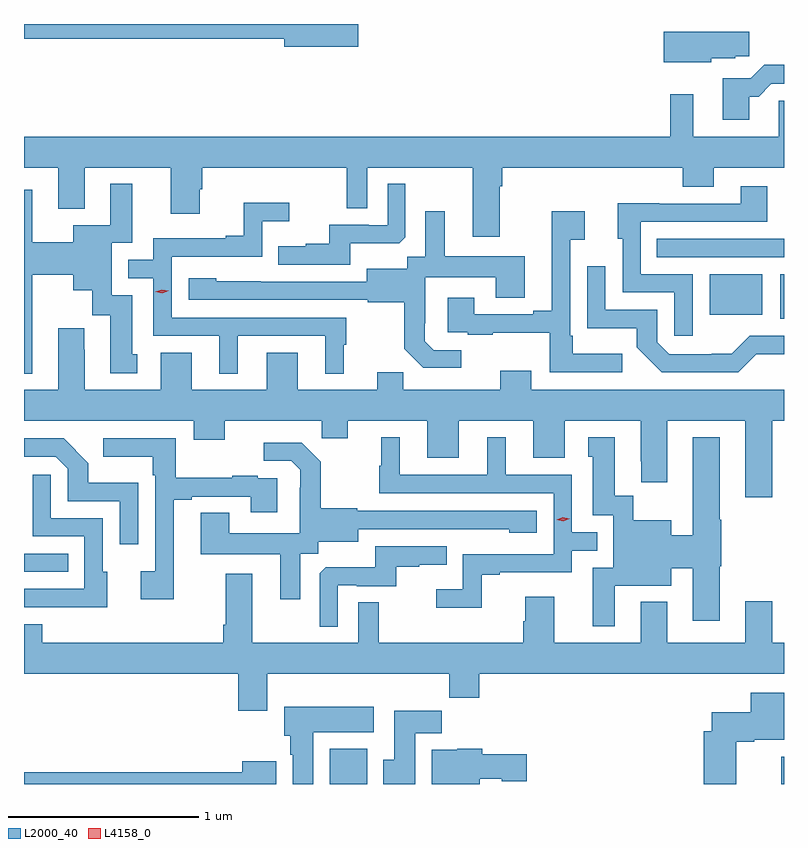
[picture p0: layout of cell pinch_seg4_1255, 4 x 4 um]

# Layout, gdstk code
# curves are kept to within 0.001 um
import gdstk
lib = gdstk.Library(unit=1e-6, precision=1e-09)
def R(c, l, rs):  # rectangles x0, y0, x1, y1
    for r in rs: c.add(gdstk.rectangle(r[:2], r[2:], *l))
def P(c, l, *ps):  # polygons
    for p in ps: c.add(gdstk.Polygon(p, *l))
L2000_40 = (2000, 40)
L4158_0 = (4158, 0)

pinch_seg4_1255 = lib.new_cell('pinch_seg4_1255')
R(pinch_seg4_1255, L2000_40, [(255.716,757.613,255.913,757.798), (258.091,757.613,258.106,757.756), (254.106,758.73,254.339,758.826), (258.086,760.061,258.106,760.297), (257.714,760.082,257.992,760.297), (257.437,760.386,258.106,760.482)])
P(pinch_seg4_1255, L2000_40, [(255.865,761.613),(254.106,761.613),(254.106,761.536),(255.476,761.536),(255.476,761.494),(255.865,761.494)],
  [(257.724,761.432),(257.85,761.432),(257.85,761.443),(257.923,761.443),(257.923,761.572),(257.474,761.572),(257.474,761.411),(257.724,761.411)],
  [(257.923,761.231),(257.972,761.231),(258.039,761.298),(258.106,761.298),(258.106,761.399),(258.002,761.399),(257.931,761.328),(257.783,761.328),(257.783,761.109),(257.923,761.109)],
  [(256.609,760.76),(256.622,760.76),(256.622,760.856),(257.573,760.856),(257.573,760.757),(257.737,760.757),(257.737,760.856),(258.106,760.856),(258.106,761.21),(258.078,761.21),(258.078,761.02),(257.629,761.02),(257.629,761.242),(257.508,761.242),(257.508,761.02),(254.106,761.02),(254.106,760.856),(254.285,760.856),(254.285,760.64),(254.425,760.64),(254.425,760.856),(254.879,760.856),(254.879,760.614),(255.031,760.614),(255.031,760.743),(255.044,760.743),(255.044,760.856),(255.804,760.856),(255.804,760.642),(255.912,760.642),(255.912,760.856),(256.469,760.856),(256.469,760.494),(256.609,760.494)],
  [(255.823,760.46),(256.081,760.46),(256.113,760.491),(256.113,760.771),(256.02,760.771),(256.02,760.554),(255.92,760.554),(255.92,760.557),(255.713,760.557),(255.713,760.456),(255.589,760.456),(255.589,760.444),(255.445,760.444),(255.445,760.347),(255.823,760.347)],
  [(254.149,760.292),(254.366,760.292),(254.366,760.211),(254.465,760.211),(254.465,760.08),(254.561,760.08),(254.561,759.774),(254.701,759.774),(254.701,759.876),(254.677,759.876),(254.677,760.185),(254.568,760.185),(254.568,760.461),(254.677,760.461),(254.677,760.771),(254.561,760.771),(254.561,760.555),(254.366,760.555),(254.366,760.464),(254.149,760.464),(254.149,760.741),(254.106,760.741),(254.106,759.773),(254.149,759.773)],
  [(257.625,760.296),(257.352,760.296),(257.352,760.572),(258.019,760.572),(258.019,760.759),(257.879,760.759),(257.879,760.668),(257.449,760.668),(257.449,760.67),(257.231,760.67),(257.231,760.482),(257.256,760.482),(257.256,760.2),(257.529,760.2),(257.529,759.972),(257.625,759.972)],
  [(255.232,759.972),(255.692,759.972),(255.692,759.773),(255.79,759.773),(255.79,759.924),(255.802,759.924),(255.802,760.068),(254.883,760.068),(254.883,760.389),(255.36,760.389),(255.36,760.574),(255.502,760.574),(255.502,760.673),(255.262,760.673),(255.262,760.498),(255.167,760.498),(255.167,760.485),(254.787,760.485),(254.787,760.371),(254.654,760.371),(254.654,760.275),(254.787,760.275),(254.787,759.972),(255.134,759.972),(255.134,759.773),(255.232,759.773)],
  [(257.254,759.877),(256.993,759.877),(256.993,759.973),(256.98,759.973),(256.98,760.478),(257.056,760.478),(257.056,760.627),(256.883,760.627),(256.883,760.105),(256.787,760.105),(256.787,760.086),(256.477,760.086),(256.477,760.171),(256.337,760.171),(256.337,759.99),(256.441,759.99),(256.441,759.978),(256.573,759.978),(256.573,759.989),(256.872,759.989),(256.872,759.78),(257.254,759.78)],
  [(256.408,759.897),(256.263,759.897),(256.216,759.944),(256.216,760.039),(256.218,760.039),(256.218,760.28),(256.589,760.28),(256.589,760.171),(256.741,760.171),(256.741,760.39),(256.321,760.39),(256.321,760.627),(256.217,760.627),(256.217,760.388),(256.122,760.388),(256.122,760.324),(255.911,760.324),(255.911,760.257),(255.117,760.258),(255.117,760.276),(254.973,760.276),(254.973,760.161),(255.915,760.161),(255.915,760.149),(256.107,760.149),(256.107,759.903),(256.207,759.803),(256.408,759.803)],
  [(257.96,759.875),(258.106,759.875),(258.106,759.972),(257.925,759.972),(257.831,759.878),(257.726,759.878),(257.726,759.876),(257.502,759.876),(257.439,759.939),(257.439,760.11),(257.166,760.11),(257.166,760.339),(257.07,760.339),(257.07,760.013),(257.332,760.013),(257.332,759.911),(257.462,759.78),(257.865,759.78)],
  [(258.043,759.524),(258.106,759.524),(258.106,759.688),(256.777,759.688),(256.777,759.787),(256.613,759.787),(256.613,759.688),(256.103,759.688),(256.103,759.779),(255.965,759.779),(255.965,759.688),(255.547,759.688),(255.547,759.883),(255.383,759.883),(255.383,759.688),(254.989,759.688),(254.989,759.883),(254.825,759.883),(254.825,759.688),(254.425,759.688),(254.425,759.899),(254.422,759.899),(254.422,760.012),(254.285,760.012),(254.285,759.688),(254.106,759.688),(254.106,759.524),(254.999,759.524),(254.999,759.425),(255.163,759.425),(255.163,759.524),(255.673,759.524),(255.673,759.434),(255.811,759.434),(255.811,759.524),(256.229,759.524),(256.229,759.33),(256.393,759.33),(256.393,759.524),(256.787,759.524),(256.787,759.33),(256.951,759.33),(256.951,759.524),(257.351,759.524),(257.351,759.313),(257.354,759.313),(257.354,759.201),(257.491,759.201),(257.491,759.524),(257.903,759.524),(257.903,759.123),(258.043,759.123)],
  [(257.215,758.657),(257.512,758.657),(257.512,758.749),(257.627,758.749),(257.627,758.472),(257.767,758.472),(257.767,758.76),(257.775,758.76),(257.775,759.004),(257.767,759.004),(257.767,759.439),(257.627,759.439),(257.627,758.921),(257.512,758.921),(257.512,759.001),(257.313,759.001),(257.313,759.131),(257.215,759.131),(257.215,759.439),(257.075,759.439),(257.075,759.336),(257.099,759.336),(257.099,759.027),(257.208,759.027),(257.208,758.751),(257.099,758.751),(257.099,758.442),(257.215,758.442)],
  [(256.515,758.715),(256.609,758.715),(256.609,758.727),(256.989,758.727),(256.989,758.841),(257.122,758.841),(257.122,758.937),(256.989,758.937),(256.989,759.24),(256.642,759.24),(256.642,759.439),(256.544,759.439),(256.544,759.24),(256.084,759.24),(256.084,759.439),(255.986,759.439),(255.986,759.288),(255.975,759.288),(255.975,759.144),(256.893,759.144),(256.893,758.823),(256.416,758.823),(256.416,758.638),(256.275,758.638),(256.275,758.54),(256.515,758.54)],
  [(254.893,759.108),(254.989,759.108),(254.989,759.126),(255.299,759.126),(255.299,759.042),(255.439,759.042),(255.439,759.222),(255.335,759.222),(255.335,759.235),(255.203,759.235),(255.203,759.224),(254.905,759.224),(254.905,759.432),(254.523,759.432),(254.523,759.335),(254.784,759.335),(254.784,759.239),(254.796,759.239),(254.796,758.734),(254.721,758.734),(254.721,758.586),(254.893,758.586)],
  [(254.706,759.199),(254.445,759.199),(254.445,759.302),(254.314,759.432),(254.106,759.432),(254.106,759.336),(254.274,759.336),(254.337,759.273),(254.337,759.102),(254.61,759.102),(254.61,758.874),(254.706,758.874)],
  [(255.559,758.824),(255.654,758.824),(255.654,758.888),(255.865,758.888),(255.865,758.955),(256.659,758.954),(256.659,758.936),(256.804,758.936),(256.804,759.051),(255.861,759.051),(255.861,759.064),(255.669,759.064),(255.669,759.309),(255.569,759.409),(255.369,759.409),(255.369,759.315),(255.513,759.315),(255.56,759.268),(255.56,759.173),(255.558,759.173),(255.558,758.932),(255.187,758.932),(255.187,759.041),(255.035,759.041),(255.035,758.822),(255.455,758.822),(255.455,758.586),(255.559,758.586)],
  [(254.545,758.73),(254.52,758.73),(254.52,759.012),(254.247,759.012),(254.247,759.241),(254.151,759.241),(254.151,758.916),(254.424,758.916),(254.424,758.64),(254.106,758.64),(254.106,758.544),(254.327,758.544),(254.327,758.543),(254.545,758.543)],
  [(255.756,758.658),(255.856,758.658),(255.856,758.655),(256.064,758.655),(256.064,758.757),(256.187,758.757),(256.187,758.768),(256.331,758.768),(256.331,758.865),(255.954,758.865),(255.954,758.753),(255.695,758.753),(255.663,758.721),(255.663,758.441),(255.756,758.441)],
  [(255.385,758.192),(256.345,758.192),(256.345,758.068),(256.502,758.068),(256.502,758.192),(258.106,758.192),(258.106,758.356),(258.043,758.356),(258.043,758.575),(257.903,758.575),(257.903,758.356),(257.491,758.356),(257.491,758.572),(257.351,758.572),(257.351,758.356),(256.897,758.356),(256.897,758.599),(256.745,758.599),(256.745,758.469),(256.733,758.469),(256.733,758.356),(255.973,758.356),(255.973,758.57),(255.864,758.57),(255.864,758.356),(255.307,758.356),(255.307,758.719),(255.167,758.719),(255.167,758.452),(255.155,758.452),(255.155,758.356),(254.203,758.356),(254.203,758.455),(254.106,758.455),(254.106,758.192),(255.233,758.192),(255.233,757.998),(255.385,757.998)],
  [(257.854,757.835),(257.95,757.835),(257.95,757.847),(258.106,757.847),(258.106,758.092),(257.93,758.092),(257.93,757.99),(257.726,757.99),(257.726,757.891),(257.684,757.891),(257.684,757.613),(257.854,757.613)],
  [(255.628,757.886),(255.946,757.886),(255.946,758.02),(255.476,758.02),(255.476,757.866),(255.506,757.866),(255.506,757.766),(255.521,757.766),(255.521,757.613),(255.628,757.613)],
  [(256.165,757.88),(256.304,757.88),(256.304,757.999),(256.055,757.999),(256.055,757.74),(255.998,757.74),(255.998,757.613),(256.165,757.613)],
  [(256.504,757.64),(256.62,757.64),(256.62,757.628),(256.753,757.628),(256.753,757.77),(256.517,757.77),(256.517,757.798),(256.386,757.798),(256.386,757.792),(256.253,757.792),(256.253,757.613),(256.504,757.613)],
  [(255.433,757.732),(255.254,757.732),(255.254,757.676),(254.106,757.676),(254.106,757.613),(255.433,757.613)])
P(pinch_seg4_1255, L4158_0, [(254.834,760.195),(254.798,760.203),(254.798,760.203),(254.798,760.203),(254.832,760.215),(254.867,760.208),(254.867,760.208),(254.867,760.208)],
  [(256.944,758.997),(256.909,759.004),(256.908,759.004),(256.909,759.005),(256.942,759.017),(256.977,759.009),(256.978,759.009),(256.977,759.009)])

lib.write_gds('pinch_seg4_1255.gds')
